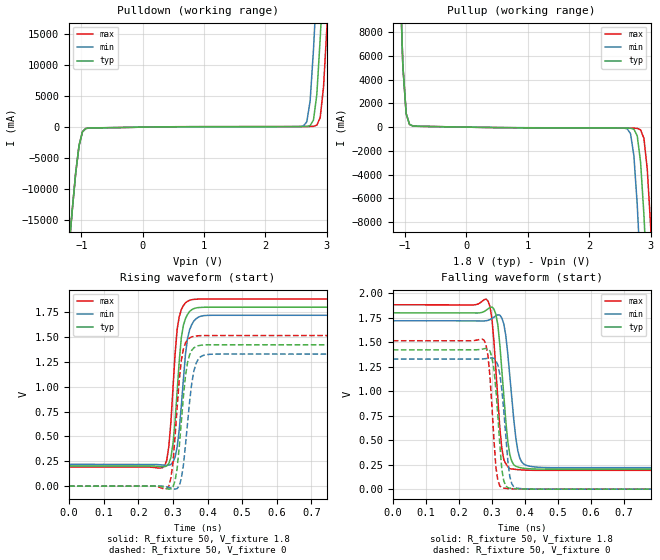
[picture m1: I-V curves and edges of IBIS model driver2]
| IBIS file inv_chain_50ps.ibs created by PYS2IBIS3
| Missouri S&T EMC Lab
[IBIS Ver] 7.1
[File Name] inv_chain_50ps.ibs
[File Rev] 1.0
[Date] Jul 27, 2026
[Source] Eight-stage inv_chain transistor model characterized with s2ibispy
[Notes] Edge-rate sweep; tr=tf=50ps. All other settings match
 inv_chain_fast_5ps.
[Component] invchain
[Manufacturer] s2ibispy study
[Package]
| variable   typ   min   max
R_pkg 0 NA NA
L_pkg 0H NA NA
C_pkg 0F NA NA
[Pin]  signal_name   model_name   R_pin   L_pin   C_pin
VSSQ   VSSQ   Gnd
VCCQ   VCCQ   Power
| IN IN dummy
PAD   PAD   driver2
| End of Component
| Models and submodels in the file (1): driver2 (Output)
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[Model] driver2
Model_type Output
Polarity Non-Inverting
Enable Active-High
Vinl  = 0.8V
Vinh  = 2V
C_comp 0.4680pF NA NA
[Temperature Range] 27.0000 27.0000 27.0000
[Voltage Range] 1.8000V 1.7000V 1.9000V
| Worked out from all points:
|   slope of the pulldown table from 0 to 0.27 V, typ, clamps not added: 6.79 ohm
|   slope of the pullup table from 0 to 0.27 V, typ, clamps not added: 12.6 ohm
|   rising waveform, R_fixture 50, V_fixture 1.8: 20-80 % time 21.2ps typ, 23.2ps min, 20.1ps max; typ from 0.204 V to 1.8 V
|   rising waveform, R_fixture 50, V_fixture 0: 20-80 % time 22.4ps typ, 23.9ps min, 21ps max; typ from 0 V to 1.42 V
|   falling waveform, R_fixture 50, V_fixture 1.8: 20-80 % time 23.3ps typ, 25.8ps min, 21.5ps max; typ from 1.8 V to 0.204 V
|   falling waveform, R_fixture 50, V_fixture 0: 20-80 % time 19.4ps typ, 20.9ps min, 18ps max; typ from 1.42 V to 0 V
[Pulldown]
| Voltage   I(typ)   I(min)   I(max)
-1.8V     -87.88A    -87.88A    -87.88A
-1.2V     -19.4A     -19.4A     -19.4A
-1.036V   -2.952A    -2.948A    -2.955A
-927.3mV  -221.8mA   -216.4mA   -227mA
2.618V    95.77mA    193.1mA    97.15mA
2.727V    244.8mA    4.224A     106.4mA
2.782V    1.151A     12.49A     132.5mA
2.836V    5.27A      23.04A     313.7mA
2.891V    14.25A     33.59A     1.533A
2.946V    24.81A     44.15A     6.464A
3V        35.36A     54.71A     16.02A
3.6V      151.5A     170.8A     132.1A
[Pullup]
| Voltage   I(typ)   I(min)   I(max)
-1.8V     151.4A     151.4A     151.4A
-1.091V   14.2A      14.19A     14.2A
-981.8mV  1.13A      1.129A     1.132A
-872.7mV  99.18mA    97.54mA    100.6mA
2.618V    -78.19mA   -142.5mA   -79.21mA
2.727V    -177.2mA   -2.408A    -86.52mA
2.782V    -728.3mA   -6.523A    -104.6mA
2.836V    -2.952A    -12.18A    -222.3mA
2.891V    -7.391A    -18.4A     -950.7mA
2.946V    -13.22A    -24.62A    -3.561A
3V        -19.44A    -30.85A    -8.297A
3.6V      -87.92A    -99.33A    -76.52A
[Ramp]
| variable   typ   min   max
dV/dt_r 0.8532/0.02165n 0.7968/0.02335n 0.9090/0.02046n
dV/dt_f 0.9575/0.0229n 0.8972/0.02484n 1.0171/0.02136n
R_load = 50
[Rising Waveform]
R_fixture = 50
V_fixture = 1.8
|time   V(typ)   V(min)   V(max)
0s        204.2mV    219.5mV    192.2mV
276.3ps   196.6mV    210.6mV    206mV
288.3ps   228.4mV    211.7mV    401.1mV
300.3ps   427.5mV    242.5mV    982.1mV
312.3ps   949.3mV    393.9mV    1.577V
318.3ps   1.256V     566.6mV    1.703V
330.3ps   1.618V     1.073V     1.817V
342.3ps   1.727V     1.486V     1.86V
366.4ps   1.792V     1.683V     1.881V
6ns       1.8V       1.719V     1.882V
[Rising Waveform]
R_fixture = 50
V_fixture = 0
|time   V(typ)   V(min)   V(max)
0s        13.08nV    12.76nV    13.48nV
282.3ps   -22.67mV   -5.701mV   -25.05mV
294.3ps   -27.35mV   -18.54mV   82.53mV
306.3ps   54.86mV    -29.87mV   501.8mV
318.3ps   392.8mV    2.042mV    1.066V
330.3ps   899.4mV    207.9mV    1.379V
342.3ps   1.242V     634.7mV    1.474V
354.4ps   1.367V     1.031V     1.501V
372.4ps   1.412V     1.271V     1.513V
6ns       1.422V     1.328V     1.515V
[Falling Waveform]
R_fixture = 50
V_fixture = 1.8
|time   V(typ)   V(min)   V(max)
0s        1.8V       1.719V     1.882V
288.3ps   1.841V     1.723V     1.921V
300.3ps   1.859V     1.742V     1.739V
312.3ps   1.783V     1.77V      1.207V
330.3ps   1.213V     1.746V     413.2mV
342.3ps   693mV      1.566V     259.9mV
354.4ps   351.1mV    1.155V     208.9mV
378.4ps   226.1mV    396.3mV    199.4mV
480.5ps   204.2mV    219.9mV    192.1mV
6ns       204.2mV    219.5mV    192.2mV
[Falling Waveform]
R_fixture = 50
V_fixture = 0
|time   V(typ)   V(min)   V(max)
0s        1.422V     1.328V     1.515V
276.3ps   1.433V     1.331V     1.521V
288.3ps   1.43V      1.335V     1.361V
300.3ps   1.343V     1.34V      843.1mV
318.3ps   744.7mV    1.265V     86.55mV
330.3ps   199.8mV    1.012V     16.19mV
348.3ps   16.18mV    291.5mV    5.756mV
366.4ps   5.719mV    23.95mV    2.323mV
426.4ps   244.6uV    889.2uV    53.85uV
6ns       13.08nV    12.77nV    13.49nV
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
